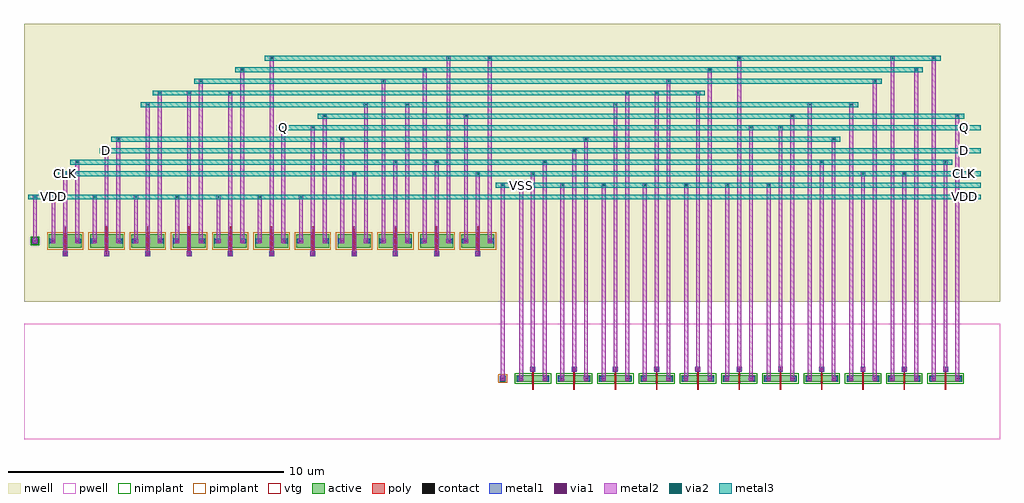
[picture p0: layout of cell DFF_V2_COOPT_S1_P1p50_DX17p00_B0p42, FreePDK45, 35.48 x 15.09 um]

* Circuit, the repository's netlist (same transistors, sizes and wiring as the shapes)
* cell DFF_V2_COOPT_S1_P1p50_DX17p00_B0p42
* pin CLK
* pin D
* pin Q
* pin VDD
* pin VSS
.SUBCKT DFF_V2_COOPT_S1_P1p50_DX17p00_B0p42 1 2 6 12 13
* net 1 CLK
* net 2 D
* net 6 Q
* net 12 VDD
* net 13 VSS
* device instance $1 r0 *1 16.2,7 PMOS_VTG
M$1 11 1 10 12 PMOS_VTG L=0.05U W=0.5U AS=0.2875P AD=0.2875P PS=2.15U PD=2.15U
* device instance $2 r0 *1 14.7,7 PMOS_VTG
M$2 11 7 9 12 PMOS_VTG L=0.05U W=0.5U AS=0.2875P AD=0.2875P PS=2.15U PD=2.15U
* device instance $3 r0 *1 13.2,7 PMOS_VTG
M$3 3 7 5 12 PMOS_VTG L=0.05U W=0.5U AS=0.2875P AD=0.2875P PS=2.15U PD=2.15U
* device instance $4 r0 *1 11.7,7 PMOS_VTG
M$4 3 1 4 12 PMOS_VTG L=0.05U W=0.5U AS=0.2875P AD=0.2875P PS=2.15U PD=2.15U
* device instance $5 r0 *1 10.2,7 PMOS_VTG
M$5 10 6 12 12 PMOS_VTG L=0.05U W=0.5U AS=0.2875P AD=0.2875P PS=2.15U PD=2.15U
* device instance $6 r0 *1 2.7,7 PMOS_VTG
M$6 4 2 12 12 PMOS_VTG L=0.05U W=0.5U AS=0.2875P AD=0.2875P PS=2.15U PD=2.15U
* device instance $7 r0 *1 1.2,7 PMOS_VTG
M$7 7 1 12 12 PMOS_VTG L=0.05U W=0.5U AS=0.2875P AD=0.2875P PS=2.15U PD=2.15U
* device instance $8 r0 *1 8.7,7 PMOS_VTG
M$8 6 11 12 12 PMOS_VTG L=0.05U W=0.5U AS=0.2875P AD=0.2875P PS=2.15U PD=2.15U
* device instance $9 r0 *1 4.2,7 PMOS_VTG
M$9 8 3 12 12 PMOS_VTG L=0.05U W=0.5U AS=0.2875P AD=0.2875P PS=2.15U PD=2.15U
* device instance $10 r0 *1 7.2,7 PMOS_VTG
M$10 9 8 12 12 PMOS_VTG L=0.05U W=0.5U AS=0.2875P AD=0.2875P PS=2.15U PD=2.15U
* device instance $11 r0 *1 5.7,7 PMOS_VTG
M$11 5 8 12 12 PMOS_VTG L=0.05U W=0.5U AS=0.2875P AD=0.2875P PS=2.15U PD=2.15U
* device instance $12 r0 *1 33.2,2 NMOS_VTG
M$12 10 7 11 13 NMOS_VTG L=0.05U W=0.25U AS=0.14375P AD=0.14375P PS=1.65U
+ PD=1.65U
* device instance $13 r0 *1 31.7,2 NMOS_VTG
M$13 9 1 11 13 NMOS_VTG L=0.05U W=0.25U AS=0.14375P AD=0.14375P PS=1.65U
+ PD=1.65U
* device instance $14 r0 *1 30.2,2 NMOS_VTG
M$14 5 1 3 13 NMOS_VTG L=0.05U W=0.25U AS=0.14375P AD=0.14375P PS=1.65U PD=1.65U
* device instance $15 r0 *1 28.7,2 NMOS_VTG
M$15 4 7 3 13 NMOS_VTG L=0.05U W=0.25U AS=0.14375P AD=0.14375P PS=1.65U PD=1.65U
* device instance $16 r0 *1 18.2,2 NMOS_VTG
M$16 7 1 13 13 NMOS_VTG L=0.05U W=0.25U AS=0.14375P AD=0.14375P PS=1.65U
+ PD=1.65U
* device instance $17 r0 *1 19.7,2 NMOS_VTG
M$17 4 2 13 13 NMOS_VTG L=0.05U W=0.25U AS=0.14375P AD=0.14375P PS=1.65U
+ PD=1.65U
* device instance $18 r0 *1 24.2,2 NMOS_VTG
M$18 9 8 13 13 NMOS_VTG L=0.05U W=0.25U AS=0.14375P AD=0.14375P PS=1.65U
+ PD=1.65U
* device instance $19 r0 *1 25.7,2 NMOS_VTG
M$19 6 11 13 13 NMOS_VTG L=0.05U W=0.25U AS=0.14375P AD=0.14375P PS=1.65U
+ PD=1.65U
* device instance $20 r0 *1 21.2,2 NMOS_VTG
M$20 8 3 13 13 NMOS_VTG L=0.05U W=0.25U AS=0.14375P AD=0.14375P PS=1.65U
+ PD=1.65U
* device instance $21 r0 *1 22.7,2 NMOS_VTG
M$21 5 8 13 13 NMOS_VTG L=0.05U W=0.25U AS=0.14375P AD=0.14375P PS=1.65U
+ PD=1.65U
* device instance $22 r0 *1 27.2,2 NMOS_VTG
M$22 10 6 13 13 NMOS_VTG L=0.05U W=0.25U AS=0.14375P AD=0.14375P PS=1.65U
+ PD=1.65U
.ENDS DFF_V2_COOPT_S1_P1p50_DX17p00_B0p42

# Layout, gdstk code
import gdstk
lib = gdstk.Library(unit=1e-6, precision=5e-10)
def R(c, l, rs):  # rectangles x0, y0, x1, y1
    for r in rs: c.add(gdstk.rectangle(r[:2], r[2:], *l))
def A(c, l, x, y, w, h, nx, ny, dx, dy):  # array of equal rectangles
    R(c, l, [(x+i*dx, y+j*dy, x+i*dx+w, y+j*dy+h) for i in range(nx) for j in range(ny)])
active = (1, 0)
pwell = (2, 0)
nwell = (3, 0)
nimplant = (4, 0)
pimplant = (5, 0)
vtg = (6, 0)
poly = (9, 0)
contact = (10, 0)
metal1 = (11, 0)
via1 = (12, 0)
metal2 = (13, 0)
via2 = (14, 0)
metal3 = (15, 0)

dff_v2_coopt_s1_p1p50_dx = lib.new_cell('DFF_V2_COOPT_S1_P1p50_DX17p00_B0p42')
A(dff_v2_coopt_s1_p1p50_dx, active, 17.6, 1.875, 1.2, 0.25, 11, 1, 1.5, 0)
A(dff_v2_coopt_s1_p1p50_dx, active, 0.6, 6.75, 1.2, 0.5, 11, 1, 1.5, 0)
R(dff_v2_coopt_s1_p1p50_dx, active, [(16.99,1.89,17.21,2.11), (-0.01,6.89,0.21,7.11)])
R(dff_v2_coopt_s1_p1p50_dx, pwell, [(-0.3,-0.2,35.18,4)])
R(dff_v2_coopt_s1_p1p50_dx, nwell, [(-0.3,4.8,35.18,14.89)])
A(dff_v2_coopt_s1_p1p50_dx, nimplant, 17.54, 1.815, 1.32, 0.37, 11, 1, 1.5, 0)
R(dff_v2_coopt_s1_p1p50_dx, nimplant, [(-0.06,6.84,0.26,7.16)])
A(dff_v2_coopt_s1_p1p50_dx, pimplant, 0.54, 6.69, 1.32, 0.62, 11, 1, 1.5, 0)
R(dff_v2_coopt_s1_p1p50_dx, pimplant, [(16.94,1.84,17.26,2.16)])
A(dff_v2_coopt_s1_p1p50_dx, vtg, 18.165, 1.845, 0.07, 0.31, 11, 1, 1.5, 0)
A(dff_v2_coopt_s1_p1p50_dx, vtg, 1.165, 6.72, 0.07, 0.56, 11, 1, 1.5, 0)
A(dff_v2_coopt_s1_p1p50_dx, poly, 18.175, 1.595, 0.05, 0.81, 11, 1, 1.5, 0)
A(dff_v2_coopt_s1_p1p50_dx, poly, 1.175, 6.47, 0.05, 1.06, 11, 1, 1.5, 0)
A(dff_v2_coopt_s1_p1p50_dx, contact, 18.17, 2.315, 0.065, 0.065, 11, 1, 1.5, 0)
A(dff_v2_coopt_s1_p1p50_dx, contact, 1.17, 6.5, 0.065, 0.065, 11, 1, 1.5, 0)
R(dff_v2_coopt_s1_p1p50_dx, contact, [(17.07,1.97,17.135,2.035), (17.69,1.97,17.755,2.035), (18.65,1.97,18.715,2.035), (19.19,1.97,19.255,2.035), (20.15,1.97,20.215,2.035), (20.69,1.97,20.755,2.035), (21.65,1.97,21.715,2.035), (22.19,1.97,22.255,2.035), (23.15,1.97,23.215,2.035), (23.69,1.97,23.755,2.035), (24.65,1.97,24.715,2.035), (25.19,1.97,25.255,2.035), (26.15,1.97,26.215,2.035), (26.69,1.97,26.755,2.035), (27.65,1.97,27.715,2.035), (28.19,1.97,28.255,2.035), (29.15,1.97,29.215,2.035), (29.69,1.97,29.755,2.035), (30.65,1.97,30.715,2.035), (31.19,1.97,31.255,2.035), (32.15,1.97,32.215,2.035), (32.69,1.97,32.755,2.035), (33.65,1.97,33.715,2.035), (0.07,6.97,0.135,7.035), (0.69,6.97,0.755,7.035), (1.65,6.97,1.715,7.035), (2.19,6.97,2.255,7.035), (3.15,6.97,3.215,7.035), (3.69,6.97,3.755,7.035), (4.65,6.97,4.715,7.035), (5.19,6.97,5.255,7.035), (6.15,6.97,6.215,7.035), (6.69,6.97,6.755,7.035), (7.65,6.97,7.715,7.035), (8.19,6.97,8.255,7.035), (9.15,6.97,9.215,7.035), (9.69,6.97,9.755,7.035), (10.65,6.97,10.715,7.035), (11.19,6.97,11.255,7.035), (12.15,6.97,12.215,7.035), (12.69,6.97,12.755,7.035), (13.65,6.97,13.715,7.035), (14.19,6.97,14.255,7.035), (15.15,6.97,15.215,7.035), (15.69,6.97,15.755,7.035), (16.65,6.97,16.715,7.035)])
A(dff_v2_coopt_s1_p1p50_dx, metal1, 18.11, 2.255, 0.18, 0.18, 11, 1, 1.5, 0)
A(dff_v2_coopt_s1_p1p50_dx, metal1, 18.125, 2.27, 0.15, 0.15, 11, 1, 1.5, 0)
A(dff_v2_coopt_s1_p1p50_dx, metal1, 1.11, 6.44, 0.18, 0.18, 11, 1, 1.5, 0)
A(dff_v2_coopt_s1_p1p50_dx, metal1, 1.125, 6.455, 0.15, 0.15, 11, 1, 1.5, 0)
R(dff_v2_coopt_s1_p1p50_dx, metal1, [(17,1.9,17.2,2.1), (17.63,1.91,17.81,2.09), (18.59,1.91,18.77,2.09), (19.13,1.91,19.31,2.09), (20.09,1.91,20.27,2.09), (20.63,1.91,20.81,2.09), (21.59,1.91,21.77,2.09), (22.13,1.91,22.31,2.09), (23.09,1.91,23.27,2.09), (23.63,1.91,23.81,2.09), (24.59,1.91,24.77,2.09), (25.13,1.91,25.31,2.09), (26.09,1.91,26.27,2.09), (26.63,1.91,26.81,2.09), (27.59,1.91,27.77,2.09), (28.13,1.91,28.31,2.09), (29.09,1.91,29.27,2.09), (29.63,1.91,29.81,2.09), (30.59,1.91,30.77,2.09), (31.13,1.91,31.31,2.09), (32.09,1.91,32.27,2.09), (32.63,1.91,32.81,2.09), (33.59,1.91,33.77,2.09), (17.025,1.925,17.175,2.075), (17.025,1.925,17.175,2.075), (17.025,1.925,17.175,2.075), (17.025,1.925,17.175,2.075), (17.025,1.925,17.175,2.075), (17.025,1.925,17.175,2.075), (17.025,1.925,17.175,2.075), (17.025,1.925,17.175,2.075), (17.025,1.925,17.175,2.075), (17.025,1.925,17.175,2.075), (17.025,1.925,17.175,2.075), (17.025,1.925,17.175,2.075), (17.695,1.925,17.845,2.075), (18.555,1.925,18.705,2.075), (19.195,1.925,19.345,2.075), (20.055,1.925,20.205,2.075), (20.695,1.925,20.845,2.075), (21.555,1.925,21.705,2.075), (22.195,1.925,22.345,2.075), (23.055,1.925,23.205,2.075), (23.695,1.925,23.845,2.075), (24.555,1.925,24.705,2.075), (25.195,1.925,25.345,2.075), (26.055,1.925,26.205,2.075), (26.695,1.925,26.845,2.075), (27.555,1.925,27.705,2.075), (28.195,1.925,28.345,2.075), (29.055,1.925,29.205,2.075), (29.695,1.925,29.845,2.075), (30.555,1.925,30.705,2.075), (31.195,1.925,31.345,2.075), (32.055,1.925,32.205,2.075), (32.695,1.925,32.845,2.075), (33.555,1.925,33.705,2.075), (0,6.9,0.2,7.1), (0.63,6.91,0.81,7.09), (1.59,6.91,1.77,7.09), (2.13,6.91,2.31,7.09), (3.09,6.91,3.27,7.09), (3.63,6.91,3.81,7.09), (4.59,6.91,4.77,7.09), (5.13,6.91,5.31,7.09), (6.09,6.91,6.27,7.09), (6.63,6.91,6.81,7.09), (7.59,6.91,7.77,7.09), (8.13,6.91,8.31,7.09), (9.09,6.91,9.27,7.09), (9.63,6.91,9.81,7.09), (10.59,6.91,10.77,7.09), (11.13,6.91,11.31,7.09), (12.09,6.91,12.27,7.09), (12.63,6.91,12.81,7.09), (13.59,6.91,13.77,7.09), (14.13,6.91,14.31,7.09), (15.09,6.91,15.27,7.09), (15.63,6.91,15.81,7.09), (16.59,6.91,16.77,7.09), (0.025,6.925,0.175,7.075), (0.025,6.925,0.175,7.075), (0.025,6.925,0.175,7.075), (0.025,6.925,0.175,7.075), (0.025,6.925,0.175,7.075), (0.025,6.925,0.175,7.075), (0.025,6.925,0.175,7.075), (0.025,6.925,0.175,7.075), (0.025,6.925,0.175,7.075), (0.025,6.925,0.175,7.075), (0.025,6.925,0.175,7.075), (0.025,6.925,0.175,7.075), (0.695,6.925,0.845,7.075), (1.555,6.925,1.705,7.075), (2.195,6.925,2.345,7.075), (3.055,6.925,3.205,7.075), (3.695,6.925,3.845,7.075), (4.555,6.925,4.705,7.075), (5.195,6.925,5.345,7.075), (6.055,6.925,6.205,7.075), (6.695,6.925,6.845,7.075), (7.555,6.925,7.705,7.075), (8.195,6.925,8.345,7.075), (9.055,6.925,9.205,7.075), (9.695,6.925,9.845,7.075), (10.555,6.925,10.705,7.075), (11.195,6.925,11.345,7.075), (12.055,6.925,12.205,7.075), (12.695,6.925,12.845,7.075), (13.555,6.925,13.705,7.075), (14.195,6.925,14.345,7.075), (15.055,6.925,15.205,7.075), (15.695,6.925,15.845,7.075), (16.555,6.925,16.705,7.075)])
A(dff_v2_coopt_s1_p1p50_dx, via1, 18.17, 2.315, 0.065, 0.065, 11, 1, 1.5, 0)
A(dff_v2_coopt_s1_p1p50_dx, via1, 1.17, 6.5, 0.065, 0.065, 11, 1, 1.5, 0)
R(dff_v2_coopt_s1_p1p50_dx, via1, [(17.07,1.97,17.135,2.035), (17.07,1.97,17.135,2.035), (17.07,1.97,17.135,2.035), (17.07,1.97,17.135,2.035), (17.07,1.97,17.135,2.035), (17.07,1.97,17.135,2.035), (17.07,1.97,17.135,2.035), (17.07,1.97,17.135,2.035), (17.07,1.97,17.135,2.035), (17.07,1.97,17.135,2.035), (17.07,1.97,17.135,2.035), (17.07,1.97,17.135,2.035), (17.74,1.97,17.805,2.035), (18.6,1.97,18.665,2.035), (19.24,1.97,19.305,2.035), (20.1,1.97,20.165,2.035), (20.74,1.97,20.805,2.035), (21.6,1.97,21.665,2.035), (22.24,1.97,22.305,2.035), (23.1,1.97,23.165,2.035), (23.74,1.97,23.805,2.035), (24.6,1.97,24.665,2.035), (25.24,1.97,25.305,2.035), (26.1,1.97,26.165,2.035), (26.74,1.97,26.805,2.035), (27.6,1.97,27.665,2.035), (28.24,1.97,28.305,2.035), (29.1,1.97,29.165,2.035), (29.74,1.97,29.805,2.035), (30.6,1.97,30.665,2.035), (31.24,1.97,31.305,2.035), (32.1,1.97,32.165,2.035), (32.74,1.97,32.805,2.035), (33.6,1.97,33.665,2.035), (0.07,6.97,0.135,7.035), (0.07,6.97,0.135,7.035), (0.07,6.97,0.135,7.035), (0.07,6.97,0.135,7.035), (0.07,6.97,0.135,7.035), (0.07,6.97,0.135,7.035), (0.07,6.97,0.135,7.035), (0.07,6.97,0.135,7.035), (0.07,6.97,0.135,7.035), (0.07,6.97,0.135,7.035), (0.07,6.97,0.135,7.035), (0.07,6.97,0.135,7.035), (0.74,6.97,0.805,7.035), (1.6,6.97,1.665,7.035), (2.24,6.97,2.305,7.035), (3.1,6.97,3.165,7.035), (3.74,6.97,3.805,7.035), (4.6,6.97,4.665,7.035), (5.24,6.97,5.305,7.035), (6.1,6.97,6.165,7.035), (6.74,6.97,6.805,7.035), (7.6,6.97,7.665,7.035), (8.24,6.97,8.305,7.035), (9.1,6.97,9.165,7.035), (9.74,6.97,9.805,7.035), (10.6,6.97,10.665,7.035), (11.24,6.97,11.305,7.035), (12.1,6.97,12.165,7.035), (12.74,6.97,12.805,7.035), (13.6,6.97,13.665,7.035), (14.24,6.97,14.305,7.035), (15.1,6.97,15.165,7.035), (15.74,6.97,15.805,7.035), (16.6,6.97,16.665,7.035)])
A(dff_v2_coopt_s1_p1p50_dx, metal2, 17.7, 2, 0.14, 7.02, 7, 1, 1.5, 0)
A(dff_v2_coopt_s1_p1p50_dx, metal2, 18.125, 2.27, 0.15, 0.15, 11, 1, 1.5, 0)
A(dff_v2_coopt_s1_p1p50_dx, metal2, 1.125, 6.455, 0.15, 0.15, 11, 1, 1.5, 0)
A(dff_v2_coopt_s1_p1p50_dx, metal2, 0.7, 7, 0.14, 1.6, 7, 1, 1.5, 0)
A(dff_v2_coopt_s1_p1p50_dx, metal2, 0.695, 8.525, 0.15, 0.15, 7, 1, 1.5, 0)
A(dff_v2_coopt_s1_p1p50_dx, metal2, 17.695, 8.945, 0.15, 0.15, 7, 1, 1.5, 0)
R(dff_v2_coopt_s1_p1p50_dx, metal2, [(17.025,1.925,17.175,2.075), (17.025,1.925,17.175,2.075), (17.025,1.925,17.175,2.075), (17.025,1.925,17.175,2.075), (17.025,1.925,17.175,2.075), (17.025,1.925,17.175,2.075), (17.025,1.925,17.175,2.075), (17.025,1.925,17.175,2.075), (17.025,1.925,17.175,2.075), (17.025,1.925,17.175,2.075), (17.025,1.925,17.175,2.075), (17.025,1.925,17.175,2.075), (17.695,1.925,17.845,2.075), (18.555,1.925,18.705,2.075), (19.195,1.925,19.345,2.075), (20.055,1.925,20.205,2.075), (20.695,1.925,20.845,2.075), (21.555,1.925,21.705,2.075), (22.195,1.925,22.345,2.075), (23.055,1.925,23.205,2.075), (23.695,1.925,23.845,2.075), (24.555,1.925,24.705,2.075), (25.195,1.925,25.345,2.075), (26.055,1.925,26.205,2.075), (26.695,1.925,26.845,2.075), (27.555,1.925,27.705,2.075), (28.195,1.925,28.345,2.075), (29.055,1.925,29.205,2.075), (29.695,1.925,29.845,2.075), (30.555,1.925,30.705,2.075), (31.195,1.925,31.345,2.075), (32.055,1.925,32.205,2.075), (32.695,1.925,32.845,2.075), (33.555,1.925,33.705,2.075), (17.03,2,17.17,9.02), (17.03,2,17.17,9.02), (17.03,2,17.17,9.02), (17.03,2,17.17,9.02), (17.03,2,17.17,9.02), (17.03,2,17.17,9.02), (17.03,2,17.17,9.02), (17.03,2,17.17,9.02), (17.03,2,17.17,9.02), (17.03,2,17.17,9.02), (17.03,2,17.17,9.02), (17.03,2,17.17,9.02), (18.56,2,18.7,9.86), (20.06,2,20.2,10.7), (21.56,2,21.7,12.38), (23.06,2,23.2,12.8), (24.56,2,24.7,13.22), (26.06,2,26.2,11.12), (27.56,2,27.7,11.54), (28.2,2,28.34,11.96), (29.06,2,29.2,10.7), (29.7,2,29.84,11.96), (30.56,2,30.7,12.8), (31.2,2,31.34,13.64), (32.06,2,32.2,13.22), (32.7,2,32.84,13.64), (33.56,2,33.7,11.54), (18.13,2.345,18.27,9.44), (19.63,2.345,19.77,10.28), (21.13,2.345,21.27,11.96), (22.63,2.345,22.77,12.38), (24.13,2.345,24.27,12.38), (25.63,2.345,25.77,13.64), (27.13,2.345,27.27,11.12), (28.63,2.345,28.77,9.86), (30.13,2.345,30.27,9.44), (31.63,2.345,31.77,9.44), (33.13,2.345,33.27,9.86), (1.13,6.53,1.27,9.44), (2.63,6.53,2.77,10.28), (4.13,6.53,4.27,11.96), (5.63,6.53,5.77,12.38), (7.13,6.53,7.27,12.38), (8.63,6.53,8.77,13.64), (10.13,6.53,10.27,11.12), (11.63,6.53,11.77,9.44), (13.13,6.53,13.27,9.86), (14.63,6.53,14.77,9.86), (16.13,6.53,16.27,9.44), (0.025,6.925,0.175,7.075), (0.025,6.925,0.175,7.075), (0.025,6.925,0.175,7.075), (0.025,6.925,0.175,7.075), (0.025,6.925,0.175,7.075), (0.025,6.925,0.175,7.075), (0.025,6.925,0.175,7.075), (0.025,6.925,0.175,7.075), (0.025,6.925,0.175,7.075), (0.025,6.925,0.175,7.075), (0.025,6.925,0.175,7.075), (0.025,6.925,0.175,7.075), (0.695,6.925,0.845,7.075), (1.555,6.925,1.705,7.075), (2.195,6.925,2.345,7.075), (3.055,6.925,3.205,7.075), (3.695,6.925,3.845,7.075), (4.555,6.925,4.705,7.075), (5.195,6.925,5.345,7.075), (6.055,6.925,6.205,7.075), (6.695,6.925,6.845,7.075), (7.555,6.925,7.705,7.075), (8.195,6.925,8.345,7.075), (9.055,6.925,9.205,7.075), (9.695,6.925,9.845,7.075), (10.555,6.925,10.705,7.075), (11.195,6.925,11.345,7.075), (12.055,6.925,12.205,7.075), (12.695,6.925,12.845,7.075), (13.555,6.925,13.705,7.075), (14.195,6.925,14.345,7.075), (15.055,6.925,15.205,7.075), (15.695,6.925,15.845,7.075), (16.555,6.925,16.705,7.075), (0.03,7,0.17,8.6), (0.03,7,0.17,8.6), (0.03,7,0.17,8.6), (0.03,7,0.17,8.6), (0.03,7,0.17,8.6), (0.03,7,0.17,8.6), (0.03,7,0.17,8.6), (0.03,7,0.17,8.6), (0.03,7,0.17,8.6), (0.03,7,0.17,8.6), (0.03,7,0.17,8.6), (0.03,7,0.17,8.6), (1.56,7,1.7,9.86), (3.06,7,3.2,10.7), (4.56,7,4.7,12.38), (6.06,7,6.2,12.8), (7.56,7,7.7,13.22), (9.06,7,9.2,11.12), (10.56,7,10.7,11.54), (11.2,7,11.34,10.7), (12.06,7,12.2,11.96), (12.7,7,12.84,12.8), (13.56,7,13.7,11.96), (14.2,7,14.34,13.22), (15.06,7,15.2,13.64), (15.7,7,15.84,11.54), (16.56,7,16.7,13.64), (0.025,8.525,0.175,8.675), (0.025,8.525,0.175,8.675), (0.025,8.525,0.175,8.675), (0.025,8.525,0.175,8.675), (0.025,8.525,0.175,8.675), (0.025,8.525,0.175,8.675), (0.025,8.525,0.175,8.675), (0.025,8.525,0.175,8.675), (0.025,8.525,0.175,8.675), (0.025,8.525,0.175,8.675), (0.025,8.525,0.175,8.675), (0.025,8.525,0.175,8.675), (17.025,8.945,17.175,9.095), (17.025,8.945,17.175,9.095), (17.025,8.945,17.175,9.095), (17.025,8.945,17.175,9.095), (17.025,8.945,17.175,9.095), (17.025,8.945,17.175,9.095), (17.025,8.945,17.175,9.095), (17.025,8.945,17.175,9.095), (17.025,8.945,17.175,9.095), (17.025,8.945,17.175,9.095), (17.025,8.945,17.175,9.095), (17.025,8.945,17.175,9.095), (1.125,9.365,1.275,9.515), (11.625,9.365,11.775,9.515), (16.125,9.365,16.275,9.515), (18.125,9.365,18.275,9.515), (30.125,9.365,30.275,9.515), (31.625,9.365,31.775,9.515), (1.555,9.785,1.705,9.935), (13.125,9.785,13.275,9.935), (14.625,9.785,14.775,9.935), (18.555,9.785,18.705,9.935), (28.625,9.785,28.775,9.935), (33.125,9.785,33.275,9.935), (2.625,10.205,2.775,10.355), (19.625,10.205,19.775,10.355), (3.055,10.625,3.205,10.775), (11.195,10.625,11.345,10.775), (20.055,10.625,20.205,10.775), (29.055,10.625,29.205,10.775), (9.055,11.045,9.205,11.195), (10.125,11.045,10.275,11.195), (26.055,11.045,26.205,11.195), (27.125,11.045,27.275,11.195), (10.555,11.465,10.705,11.615), (15.695,11.465,15.845,11.615), (27.555,11.465,27.705,11.615), (33.555,11.465,33.705,11.615), (4.125,11.885,4.275,12.035), (12.055,11.885,12.205,12.035), (13.555,11.885,13.705,12.035), (21.125,11.885,21.275,12.035), (28.195,11.885,28.345,12.035), (29.695,11.885,29.845,12.035), (4.555,12.305,4.705,12.455), (5.625,12.305,5.775,12.455), (7.125,12.305,7.275,12.455), (21.555,12.305,21.705,12.455), (22.625,12.305,22.775,12.455), (24.125,12.305,24.275,12.455), (6.055,12.725,6.205,12.875), (12.695,12.725,12.845,12.875), (23.055,12.725,23.205,12.875), (30.555,12.725,30.705,12.875), (7.555,13.145,7.705,13.295), (14.195,13.145,14.345,13.295), (24.555,13.145,24.705,13.295), (32.055,13.145,32.205,13.295), (8.625,13.565,8.775,13.715), (15.055,13.565,15.205,13.715), (16.555,13.565,16.705,13.715), (25.625,13.565,25.775,13.715), (31.195,13.565,31.345,13.715), (32.695,13.565,32.845,13.715)])
A(dff_v2_coopt_s1_p1p50_dx, via2, 0.74, 8.57, 0.065, 0.065, 7, 1, 1.5, 0)
A(dff_v2_coopt_s1_p1p50_dx, via2, 17.74, 8.99, 0.065, 0.065, 7, 1, 1.5, 0)
R(dff_v2_coopt_s1_p1p50_dx, via2, [(0.07,8.57,0.135,8.635), (0.07,8.57,0.135,8.635), (0.07,8.57,0.135,8.635), (0.07,8.57,0.135,8.635), (0.07,8.57,0.135,8.635), (0.07,8.57,0.135,8.635), (0.07,8.57,0.135,8.635), (0.07,8.57,0.135,8.635), (0.07,8.57,0.135,8.635), (0.07,8.57,0.135,8.635), (0.07,8.57,0.135,8.635), (0.07,8.57,0.135,8.635), (17.07,8.99,17.135,9.055), (17.07,8.99,17.135,9.055), (17.07,8.99,17.135,9.055), (17.07,8.99,17.135,9.055), (17.07,8.99,17.135,9.055), (17.07,8.99,17.135,9.055), (17.07,8.99,17.135,9.055), (17.07,8.99,17.135,9.055), (17.07,8.99,17.135,9.055), (17.07,8.99,17.135,9.055), (17.07,8.99,17.135,9.055), (17.07,8.99,17.135,9.055), (1.17,9.41,1.235,9.475), (11.67,9.41,11.735,9.475), (16.17,9.41,16.235,9.475), (18.17,9.41,18.235,9.475), (30.17,9.41,30.235,9.475), (31.67,9.41,31.735,9.475), (1.6,9.83,1.665,9.895), (13.17,9.83,13.235,9.895), (14.67,9.83,14.735,9.895), (18.6,9.83,18.665,9.895), (28.67,9.83,28.735,9.895), (33.17,9.83,33.235,9.895), (2.67,10.25,2.735,10.315), (19.67,10.25,19.735,10.315), (3.1,10.67,3.165,10.735), (11.24,10.67,11.305,10.735), (20.1,10.67,20.165,10.735), (29.1,10.67,29.165,10.735), (9.1,11.09,9.165,11.155), (10.17,11.09,10.235,11.155), (26.1,11.09,26.165,11.155), (27.17,11.09,27.235,11.155), (10.6,11.51,10.665,11.575), (15.74,11.51,15.805,11.575), (27.6,11.51,27.665,11.575), (33.6,11.51,33.665,11.575), (4.17,11.93,4.235,11.995), (12.1,11.93,12.165,11.995), (13.6,11.93,13.665,11.995), (21.17,11.93,21.235,11.995), (28.24,11.93,28.305,11.995), (29.74,11.93,29.805,11.995), (4.6,12.35,4.665,12.415), (5.67,12.35,5.735,12.415), (7.17,12.35,7.235,12.415), (21.6,12.35,21.665,12.415), (22.67,12.35,22.735,12.415), (24.17,12.35,24.235,12.415), (6.1,12.77,6.165,12.835), (12.74,12.77,12.805,12.835), (23.1,12.77,23.165,12.835), (30.6,12.77,30.665,12.835), (7.6,13.19,7.665,13.255), (14.24,13.19,14.305,13.255), (24.6,13.19,24.665,13.255), (32.1,13.19,32.165,13.255), (8.67,13.61,8.735,13.675), (15.1,13.61,15.165,13.675), (16.6,13.61,16.665,13.675), (25.67,13.61,25.735,13.675), (31.24,13.61,31.305,13.675), (32.74,13.61,32.805,13.675)])
A(dff_v2_coopt_s1_p1p50_dx, metal3, 0.695, 8.525, 0.15, 0.15, 7, 1, 1.5, 0)
A(dff_v2_coopt_s1_p1p50_dx, metal3, 17.695, 8.945, 0.15, 0.15, 7, 1, 1.5, 0)
R(dff_v2_coopt_s1_p1p50_dx, metal3, [(-0.15,8.51,10.02,8.69), (10.02,8.51,34.48,8.69), (0.025,8.525,0.175,8.675), (0.025,8.525,0.175,8.675), (0.025,8.525,0.175,8.675), (0.025,8.525,0.175,8.675), (0.025,8.525,0.175,8.675), (0.025,8.525,0.175,8.675), (0.025,8.525,0.175,8.675), (0.025,8.525,0.175,8.675), (0.025,8.525,0.175,8.675), (0.025,8.525,0.175,8.675), (0.025,8.525,0.175,8.675), (0.025,8.525,0.175,8.675), (16.85,8.93,27.02,9.11), (27.02,8.93,34.48,9.11), (17.025,8.945,17.175,9.095), (17.025,8.945,17.175,9.095), (17.025,8.945,17.175,9.095), (17.025,8.945,17.175,9.095), (17.025,8.945,17.175,9.095), (17.025,8.945,17.175,9.095), (17.025,8.945,17.175,9.095), (17.025,8.945,17.175,9.095), (17.025,8.945,17.175,9.095), (17.025,8.945,17.175,9.095), (17.025,8.945,17.175,9.095), (17.025,8.945,17.175,9.095), (0.95,9.35,31.95,9.53), (31.95,9.35,34.48,9.53), (1.125,9.365,1.275,9.515), (11.625,9.365,11.775,9.515), (16.125,9.365,16.275,9.515), (18.125,9.365,18.275,9.515), (30.125,9.365,30.275,9.515), (31.625,9.365,31.775,9.515), (1.38,9.77,33.45,9.95), (1.555,9.785,1.705,9.935), (13.125,9.785,13.275,9.935), (14.625,9.785,14.775,9.935), (18.555,9.785,18.705,9.935), (28.625,9.785,28.775,9.935), (33.125,9.785,33.275,9.935), (2.45,10.19,19.95,10.37), (19.95,10.19,34.48,10.37), (2.625,10.205,2.775,10.355), (19.625,10.205,19.775,10.355), (2.88,10.61,29.38,10.79), (3.055,10.625,3.205,10.775), (11.195,10.625,11.345,10.775), (20.055,10.625,20.205,10.775), (29.055,10.625,29.205,10.775), (8.88,11.03,27.45,11.21), (27.45,11.03,34.48,11.21), (9.055,11.045,9.205,11.195), (10.125,11.045,10.275,11.195), (26.055,11.045,26.205,11.195), (27.125,11.045,27.275,11.195), (10.38,11.45,33.88,11.63), (10.555,11.465,10.705,11.615), (15.695,11.465,15.845,11.615), (27.555,11.465,27.705,11.615), (33.555,11.465,33.705,11.615), (3.95,11.87,30.02,12.05), (4.125,11.885,4.275,12.035), (12.055,11.885,12.205,12.035), (13.555,11.885,13.705,12.035), (21.125,11.885,21.275,12.035), (28.195,11.885,28.345,12.035), (29.695,11.885,29.845,12.035), (4.38,12.29,24.45,12.47), (4.555,12.305,4.705,12.455), (5.625,12.305,5.775,12.455), (7.125,12.305,7.275,12.455), (21.555,12.305,21.705,12.455), (22.625,12.305,22.775,12.455), (24.125,12.305,24.275,12.455), (5.88,12.71,30.88,12.89), (6.055,12.725,6.205,12.875), (12.695,12.725,12.845,12.875), (23.055,12.725,23.205,12.875), (30.555,12.725,30.705,12.875), (7.38,13.13,32.38,13.31), (7.555,13.145,7.705,13.295), (14.195,13.145,14.345,13.295), (24.555,13.145,24.705,13.295), (32.055,13.145,32.205,13.295), (8.45,13.55,33.02,13.73), (8.625,13.565,8.775,13.715), (15.055,13.565,15.205,13.715), (16.555,13.565,16.705,13.715), (25.625,13.565,25.775,13.715), (31.195,13.565,31.345,13.715), (32.695,13.565,32.845,13.715)])
dff_v2_coopt_s1_p1p50_dx.add(gdstk.Label('VDD', (33.88,8.6), layer=15, texttype=0))
dff_v2_coopt_s1_p1p50_dx.add(gdstk.Label('VDD', (33.88,8.6), layer=15, texttype=1))
dff_v2_coopt_s1_p1p50_dx.add(gdstk.Label('VDD', (33.88,8.6), layer=15, texttype=2))
dff_v2_coopt_s1_p1p50_dx.add(gdstk.Label('VDD', (0.77,8.6), layer=13, texttype=0))
dff_v2_coopt_s1_p1p50_dx.add(gdstk.Label('VDD', (0.77,8.6), layer=13, texttype=1))
dff_v2_coopt_s1_p1p50_dx.add(gdstk.Label('VDD', (0.77,8.6), layer=13, texttype=2))
dff_v2_coopt_s1_p1p50_dx.add(gdstk.Label('VSS', (33.88,9.02), layer=15, texttype=0))
dff_v2_coopt_s1_p1p50_dx.add(gdstk.Label('VSS', (33.88,9.02), layer=15, texttype=1))
dff_v2_coopt_s1_p1p50_dx.add(gdstk.Label('VSS', (33.88,9.02), layer=15, texttype=2))
dff_v2_coopt_s1_p1p50_dx.add(gdstk.Label('VSS', (17.77,9.02), layer=13, texttype=0))
dff_v2_coopt_s1_p1p50_dx.add(gdstk.Label('VSS', (17.77,9.02), layer=13, texttype=1))
dff_v2_coopt_s1_p1p50_dx.add(gdstk.Label('VSS', (17.77,9.02), layer=13, texttype=2))
dff_v2_coopt_s1_p1p50_dx.add(gdstk.Label('D', (33.88,10.28), layer=15, texttype=0))
dff_v2_coopt_s1_p1p50_dx.add(gdstk.Label('D', (33.88,10.28), layer=15, texttype=1))
dff_v2_coopt_s1_p1p50_dx.add(gdstk.Label('D', (33.88,10.28), layer=15, texttype=2))
dff_v2_coopt_s1_p1p50_dx.add(gdstk.Label('D', (2.7,10.28), layer=13, texttype=0))
dff_v2_coopt_s1_p1p50_dx.add(gdstk.Label('D', (2.7,10.28), layer=13, texttype=1))
dff_v2_coopt_s1_p1p50_dx.add(gdstk.Label('D', (2.7,10.28), layer=13, texttype=2))
dff_v2_coopt_s1_p1p50_dx.add(gdstk.Label('Q', (33.88,11.12), layer=15, texttype=0))
dff_v2_coopt_s1_p1p50_dx.add(gdstk.Label('Q', (33.88,11.12), layer=15, texttype=1))
dff_v2_coopt_s1_p1p50_dx.add(gdstk.Label('Q', (33.88,11.12), layer=15, texttype=2))
dff_v2_coopt_s1_p1p50_dx.add(gdstk.Label('Q', (9.13,11.12), layer=13, texttype=0))
dff_v2_coopt_s1_p1p50_dx.add(gdstk.Label('Q', (9.13,11.12), layer=13, texttype=1))
dff_v2_coopt_s1_p1p50_dx.add(gdstk.Label('Q', (9.13,11.12), layer=13, texttype=2))
dff_v2_coopt_s1_p1p50_dx.add(gdstk.Label('CLK', (33.88,9.44), layer=15, texttype=0))
dff_v2_coopt_s1_p1p50_dx.add(gdstk.Label('CLK', (33.88,9.44), layer=15, texttype=1))
dff_v2_coopt_s1_p1p50_dx.add(gdstk.Label('CLK', (33.88,9.44), layer=15, texttype=2))
dff_v2_coopt_s1_p1p50_dx.add(gdstk.Label('CLK', (1.2,9.44), layer=13, texttype=0))
dff_v2_coopt_s1_p1p50_dx.add(gdstk.Label('CLK', (1.2,9.44), layer=13, texttype=1))
dff_v2_coopt_s1_p1p50_dx.add(gdstk.Label('CLK', (1.2,9.44), layer=13, texttype=2))

lib.write_gds('DFF_V2_COOPT_S1_P1p50_DX17p00_B0p42.gds')
